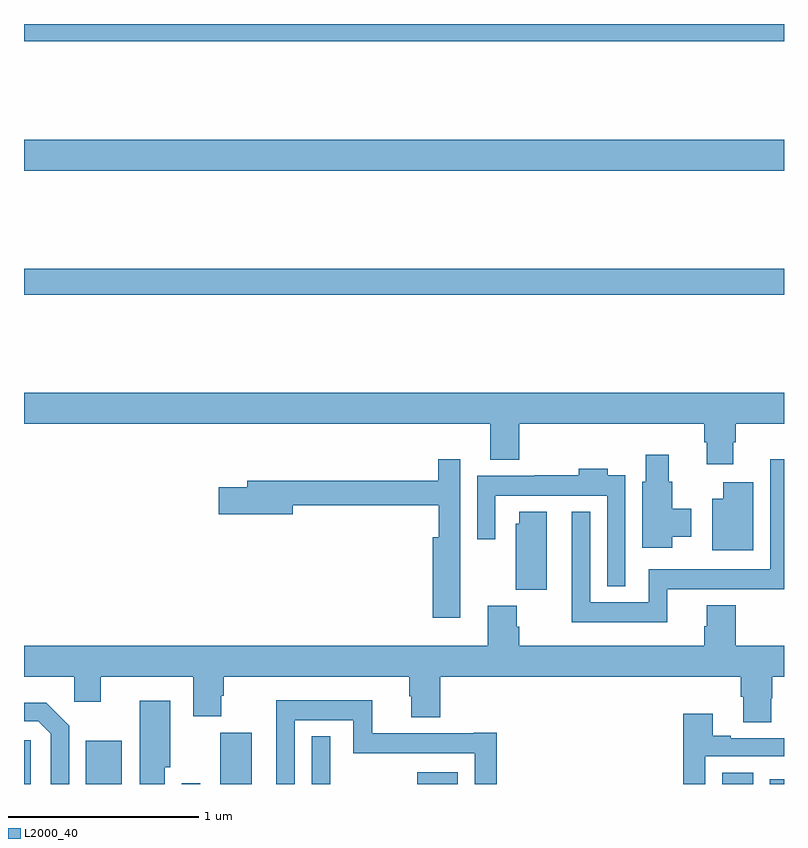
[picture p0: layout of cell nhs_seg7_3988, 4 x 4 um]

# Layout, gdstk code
import gdstk
lib = gdstk.Library(unit=1e-6, precision=1e-09)
def R(c, l, rs):  # rectangles x0, y0, x1, y1
    for r in rs: c.add(gdstk.rectangle(r[:2], r[2:], *l))
def P(c, l, *ps):  # polygons
    for p in ps: c.add(gdstk.Polygon(p, *l))
L2000_40 = (2000, 40)

nhs_seg7_3988 = lib.new_cell('nhs_seg7_3988')
R(nhs_seg7_3988, L2000_40, [(363,1052,363.036,1052.229), (363.326,1052,363.514,1052.227), (363.831,1052,363.927,1052.005), (364.034,1052,364.198,1052.271), (364.515,1052,364.611,1052.251), (365.069,1052,365.284,1052.062), (366.674,1052,366.838,1052.06), (366.926,1052,367,1052.026), (363,1054.576,367,1054.712), (363,1055.228,367,1055.392), (363,1055.908,367,1056)])
P(nhs_seg7_3988, L2000_40, [(366.733,1053.798),(366.746,1053.798),(366.746,1053.896),(367,1053.896),(367,1054.06),(363,1054.06),(363,1053.896),(365.453,1053.896),(365.453,1053.707),(365.606,1053.707),(365.606,1053.896),(366.581,1053.896),(366.581,1053.798),(366.593,1053.798),(366.593,1053.684),(366.733,1053.684)],
  [(366.412,1053.302),(366.511,1053.302),(366.511,1053.45),(366.412,1053.45),(366.412,1053.591),(366.394,1053.591),(366.394,1053.733),(366.272,1053.733),(366.272,1053.591),(366.254,1053.591),(366.254,1053.243),(366.412,1053.243)],
  [(365.296,1053.194),(365.295,1053.194),(365.295,1053.709),(365.179,1053.709),(365.179,1053.595),(364.175,1053.595),(364.175,1053.561),(364.026,1053.561),(364.026,1053.419),(364.414,1053.419),(364.414,1053.466),(365.183,1053.466),(365.183,1053.298),(365.15,1053.298),(365.15,1052.874),(365.296,1052.874)],
  [(366.386,1053.026),(366.92,1053.026),(366.92,1053.024),(367,1053.024),(367,1053.709),(366.927,1053.709),(366.927,1053.13),(366.288,1053.13),(366.288,1052.956),(365.979,1052.956),(365.979,1053.433),(365.882,1053.433),(365.882,1052.852),(366.386,1052.852)],
  [(366.165,1053.625),(366.073,1053.625),(366.073,1053.658),(365.921,1053.658),(365.921,1053.625),(365.689,1053.625),(365.689,1053.622),(365.385,1053.622),(365.385,1053.288),(365.481,1053.288),(365.481,1053.518),(366.069,1053.518),(366.069,1053.041),(366.165,1053.041)],
  [(366.838,1053.589),(366.68,1053.589),(366.68,1053.502),(366.623,1053.502),(366.623,1053.23),(366.838,1053.23)],
  [(365.752,1053.433),(365.606,1053.433),(365.606,1053.369),(365.588,1053.369),(365.588,1053.022),(365.752,1053.022)],
  [(363,1052.564),(363.264,1052.564),(363.264,1052.433),(363.403,1052.433),(363.403,1052.564),(363.892,1052.564),(363.892,1052.356),(364.039,1052.356),(364.039,1052.465),(364.052,1052.465),(364.052,1052.564),(365.027,1052.564),(365.027,1052.463),(365.039,1052.463),(365.039,1052.351),(365.192,1052.351),(365.192,1052.564),(366.773,1052.564),(366.773,1052.458),(366.785,1052.458),(366.785,1052.326),(366.933,1052.326),(366.933,1052.451),(366.938,1052.451),(366.938,1052.564),(367,1052.564),(367,1052.728),(366.746,1052.728),(366.746,1052.941),(366.593,1052.941),(366.593,1052.829),(366.581,1052.829),(366.581,1052.728),(365.606,1052.728),(365.606,1052.828),(365.593,1052.828),(365.593,1052.937),(365.441,1052.937),(365.441,1052.728),(363,1052.728)],
  [(364.425,1052.336),(364.734,1052.336),(364.734,1052.162),(365.373,1052.162),(365.373,1052),(365.489,1052),(365.489,1052.269),(365.366,1052.269),(365.366,1052.266),(364.832,1052.266),(364.832,1052.44),(364.328,1052.44),(364.328,1052),(364.425,1052)],
  [(363.741,1052.088),(363.769,1052.088),(363.769,1052.437),(363.608,1052.437),(363.608,1052),(363.741,1052)],
  [(363.237,1052.307),(363.116,1052.428),(363,1052.428),(363,1052.331),(363.075,1052.331),(363.141,1052.265),(363.141,1052),(363.237,1052)],
  [(366.585,1052.145),(367,1052.145),(367,1052.241),(366.721,1052.241),(366.721,1052.254),(366.625,1052.254),(366.625,1052.371),(366.469,1052.371),(366.469,1052),(366.585,1052)])

lib.write_gds('nhs_seg7_3988.gds')
